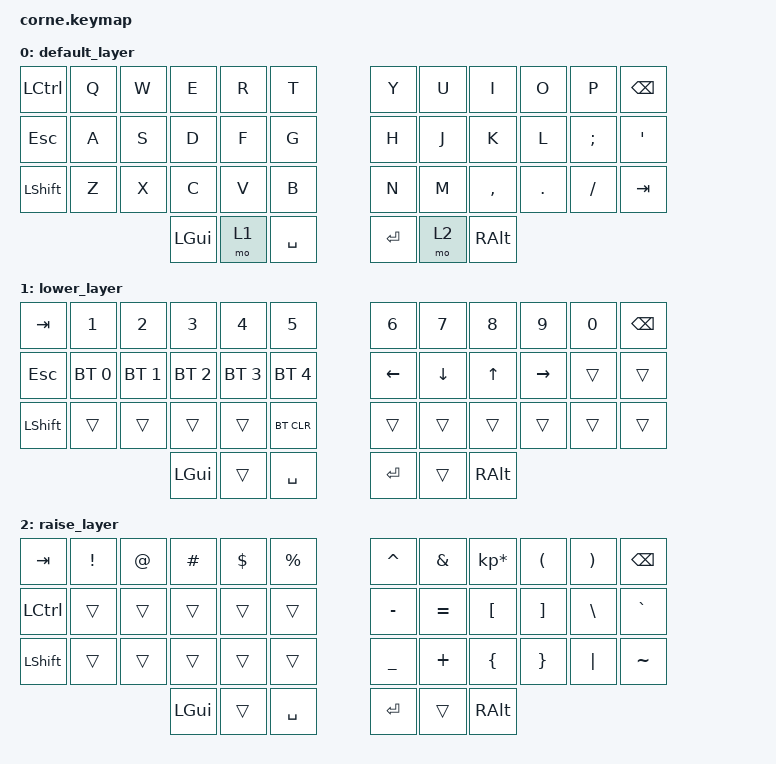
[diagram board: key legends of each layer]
/*
 * Copyright (c) 2020 The ZMK Contributors
 *
 * SPDX-License-Identifier: MIT
 */

#include <behaviors.dtsi>
#include <dt-bindings/zmk/bt.h>
#include <dt-bindings/zmk/keys.h>

/ {
    combos {
        compatible = "zmk,combos";

        ChangeLangauge {
            bindings = <&kp LA(SPACE)>;
            key-positions = <25>;
            layers = <1>;
        };
    };

    keymap {
        compatible = "zmk,keymap";

        default_layer {
            // -----------------------------------------------------------------------------------------
            // |  TAB |  Q  |  W  |  E  |  R  |  T  |   |  Y  |  U   |  I  |  O  |  P  | BKSP |
            // | CTRL |  A  |  S  |  D  |  F  |  G  |   |  H  |  J   |  K  |  L  |  ;  |  '   |
            // | SHFT |  Z  |  X  |  C  |  V  |  B  |   |  N  |  M   |  ,  |  .  |  /  | ESC  |
            //                    | GUI | LWR | SPC |   | ENT | RSE  | ALT |

            bindings = <
&kp LCTRL   &kp Q  &kp W  &kp E         &kp R  &kp T        &kp Y    &kp U  &kp I      &kp O    &kp P     &kp BSPC
&kp ESCAPE  &kp A  &kp S  &kp D         &kp F  &kp G        &kp H    &kp J  &kp K      &kp L    &kp SEMI  &kp SQT
&kp LSHFT   &kp Z  &kp X  &kp C         &kp V  &kp B        &kp N    &kp M  &kp COMMA  &kp DOT  &kp FSLH  &kp TAB
                          &kp LEFT_GUI  &mo 1  &kp SPACE    &kp RET  &mo 2  &kp RALT
            >;
        };

        lower_layer {
            // -----------------------------------------------------------------------------------------
            // |  TAB |  1  |  2  |  3  |  4  |  5  |   |  6  |  7  |  8  |  9  |  0  | BKSP |
            // | | BT1 | BT2 | BT3 | BT4 | BT5 |   | LFT | DWN |  UP | RGT |     |      |
            // | SHFT |     |     |     | BTCLR |     |   |     |     |     |     |     |      |
            //                    | GUI |     | SPC |   | ENT |     | ALT |

            bindings = <
&kp TAB     &kp N1        &kp N2        &kp N3        &kp N4        &kp N5          &kp N6    &kp N7    &kp N8    &kp N9     &kp N0  &kp BSPC
&kp ESCAPE  &bt BT_SEL 0  &bt BT_SEL 1  &bt BT_SEL 2  &bt BT_SEL 3  &bt BT_SEL 4    &kp LEFT  &kp DOWN  &kp UP    &kp RIGHT  &trans  &trans
&kp LSHFT   &trans        &trans        &trans        &trans        &bt BT_CLR          &trans    &trans    &trans    &trans     &trans  &trans
                                        &kp LGUI      &trans        &kp SPACE       &kp RET   &trans    &kp RALT
            >;
        };

        raise_layer {
            // -----------------------------------------------------------------------------------------
            // | LCTRL |  !  |  @  |  #  |  $  |  %  |   |  ^  |  &  |  *  |  (  |  )  | BKSP |
            // | CTRL |     |     |     |     |     |   |  -  |  =  |  [  |  ]  |  \  |  `   |
            // | SHFT |     |     |     |     |     |   |  _  |  +  |  {  |  }  | "|" |  ~   |
            //                    | GUI |     | SPC |   | ENT |     | ALT |

            bindings = <
&kp TAB    &kp EXCL  &kp AT  &kp HASH  &kp DLLR  &kp PRCNT    &kp CARET  &kp AMPS   &kp KP_MULTIPLY  &kp LPAR  &kp RPAR  &kp BSPC
&kp LCTRL  &trans    &trans  &trans    &trans    &trans       &kp MINUS  &kp EQUAL  &kp LBKT         &kp RBKT  &kp BSLH  &kp GRAVE
&kp LSHFT  &trans    &trans  &trans    &trans    &trans       &kp UNDER  &kp PLUS   &kp LBRC         &kp RBRC  &kp PIPE  &kp TILDE
                             &kp LGUI  &trans    &kp SPACE    &kp RET    &trans     &kp RALT
            >;
        };
    };
};
